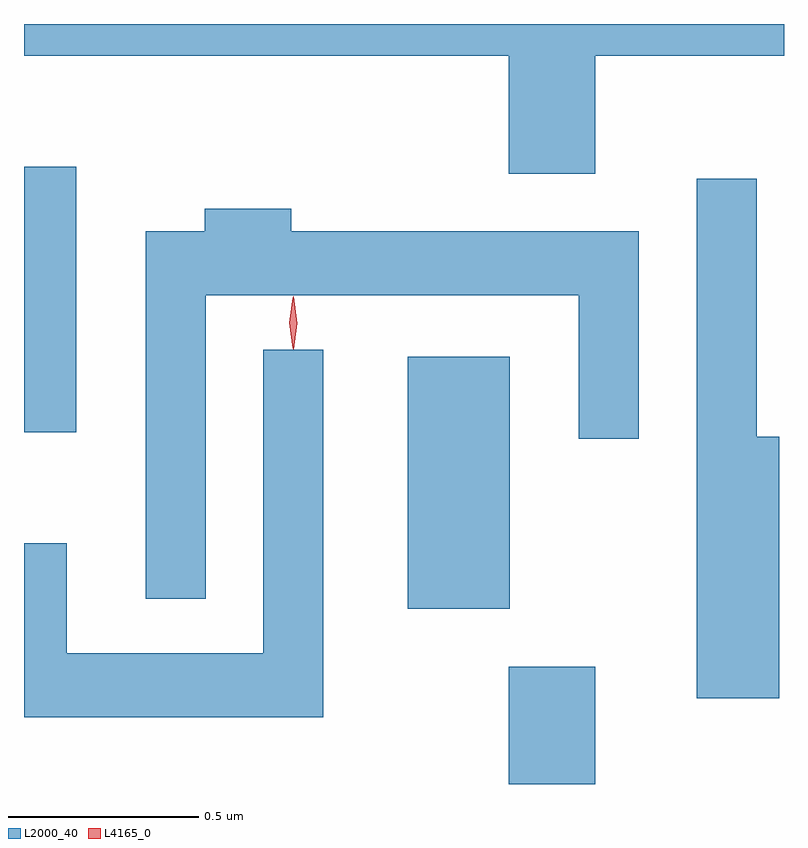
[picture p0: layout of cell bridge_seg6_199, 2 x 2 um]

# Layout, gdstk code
import gdstk
lib = gdstk.Library(unit=1e-6, precision=1e-09)
def R(c, l, rs):  # rectangles x0, y0, x1, y1
    for r in rs: c.add(gdstk.rectangle(r[:2], r[2:], *l))
def P(c, l, *ps):  # polygons
    for p in ps: c.add(gdstk.Polygon(p, *l))
L2000_40 = (2000, 40)
L4165_0 = (4165, 0)

bridge_seg6_199 = lib.new_cell('bridge_seg6_199')
R(bridge_seg6_199, L2000_40, [(1044.691,1590.3,1044.919,1590.609), (1044.426,1590.761,1044.694,1591.424), (1043.416,1591.226,1043.554,1591.924)])
P(bridge_seg6_199, L2000_40, [(1044.919,1592.216),(1045.416,1592.216),(1045.416,1592.3),(1043.416,1592.3),(1043.416,1592.216),(1044.691,1592.216),(1044.691,1591.906),(1044.919,1591.906)],
  [(1045.404,1591.214),(1045.344,1591.214),(1045.344,1591.893),(1045.186,1591.893),(1045.186,1590.526),(1045.404,1590.526)],
  [(1043.894,1591.586),(1044.876,1591.586),(1044.876,1591.208),(1045.034,1591.208),(1045.034,1591.754),(1044.119,1591.754),(1044.119,1591.814),(1043.891,1591.814),(1043.891,1591.754),(1043.736,1591.754),(1043.736,1590.788),(1043.894,1590.788)],
  [(1044.204,1591.443),(1044.046,1591.443),(1044.046,1590.644),(1043.529,1590.644),(1043.529,1590.934),(1043.416,1590.934),(1043.416,1590.476),(1044.204,1590.476)])
P(bridge_seg6_199, L4165_0, [(1044.123,1591.447),(1044.114,1591.514),(1044.123,1591.58),(1044.124,1591.581),(1044.124,1591.58),(1044.134,1591.514),(1044.124,1591.447),(1044.124,1591.447)],
  [(1044.124,1591.444),(1044.115,1591.513),(1044.124,1591.582),(1044.125,1591.583),(1044.126,1591.582),(1044.135,1591.513),(1044.126,1591.444),(1044.125,1591.444)])

lib.write_gds('bridge_seg6_199.gds')
